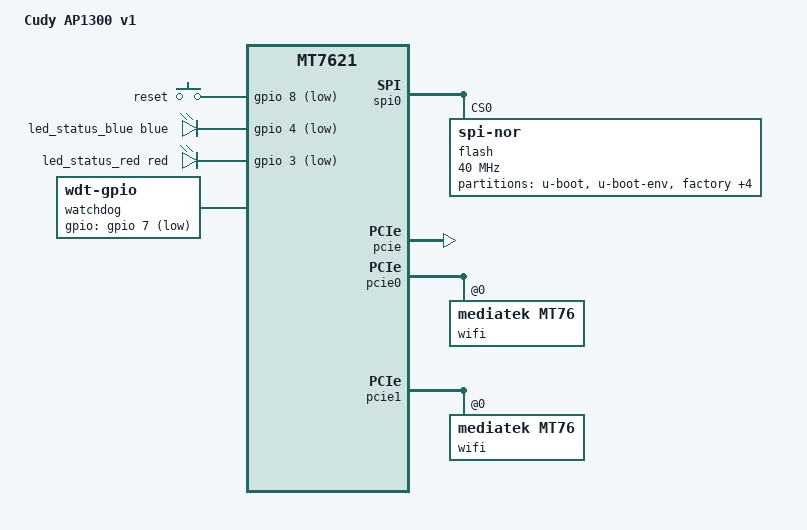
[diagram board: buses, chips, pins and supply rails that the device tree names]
// SPDX-License-Identifier: GPL-2.0-or-later OR MIT

#include "mt7621.dtsi"

#include <dt-bindings/input/input.h>
#include <dt-bindings/leds/common.h>
#include <dt-bindings/gpio/gpio.h>

/ {
	compatible = "cudy,ap1300-v1", "mediatek,mt7621-soc";
	model = "Cudy AP1300 v1";

	aliases {
		led-boot = &led_status_blue;
		led-failsafe = &led_status_red;
		led-running = &led_status_blue;
		led-upgrade = &led_status_red;
		label-mac-device = &gmac0;
	};

	chosen {
		bootargs = "console=ttyS0,115200";
	};

	keys {
		compatible = "gpio-keys";

		reset {
			label = "reset";
			gpios = <&gpio 8 GPIO_ACTIVE_LOW>;
			linux,code = <KEY_RESTART>;
		};
	};

	leds {
		compatible = "gpio-leds";

		led_status_blue: led-0 {
			gpios = <&gpio 4 GPIO_ACTIVE_LOW>;
			color = <LED_COLOR_ID_BLUE>;
			function = LED_FUNCTION_STATUS;
		};

		led_status_red: led-1 {
			gpios = <&gpio 3 GPIO_ACTIVE_LOW>;
			color = <LED_COLOR_ID_RED>;
			function = LED_FUNCTION_STATUS;
		};
	};

	watchdog {
		compatible = "linux,wdt-gpio";
		gpios = <&gpio 7 GPIO_ACTIVE_LOW>;
		hw_algo = "toggle";
		/* measured hardware timeout is ~60 s */
		hw_margin_ms = <10000>;
		always-running;
	};
};

&spi0 {
	status = "okay";

	flash@0 {
		compatible = "jedec,spi-nor";
		reg = <0>;
		spi-max-frequency = <40000000>;

		partitions {
			compatible = "fixed-partitions";
			#address-cells = <1>;
			#size-cells = <1>;

			partition@0 {
				label = "u-boot";
				reg = <0x0 0x30000>;
				read-only;
			};

			partition@30000 {
				label = "u-boot-env";
				reg = <0x30000 0x10000>;
				read-only;
			};

			partition@40000 {
				label = "factory";
				reg = <0x40000 0x10000>;
				read-only;

				nvmem-layout {
					compatible = "fixed-layout";
					#address-cells = <1>;
					#size-cells = <1>;

					eeprom_factory_0: eeprom@0 {
						reg = <0x0 0x400>;
					};

					eeprom_factory_8000: eeprom@8000 {
						reg = <0x8000 0x4da8>;
					};
				};
			};

			partition@50000 {
				compatible = "denx,uimage";
				label = "firmware";
				reg = <0x50000 0xf80000>;
			};

			partition@fd0000 {
				label = "debug";
				reg = <0xfd0000 0x10000>;
				read-only;
			};

			partition@fe0000 {
				label = "backup";
				reg = <0xfe0000 0x10000>;
				read-only;
			};

			partition@ff0000 {
				label = "bdinfo";
				reg = <0xff0000 0x10000>;
				read-only;

				nvmem-layout {
					compatible = "fixed-layout";
					#address-cells = <1>;
					#size-cells = <1>;

					macaddr_bdinfo_de00: macaddr@de00 {
						compatible = "mac-base";
						reg = <0xde00 0x6>;
						#nvmem-cell-cells = <1>;
					};
				};
			};
		};
	};
};

&pcie {
	status = "okay";
};

&pcie0 {
	wifi@0,0 {
		compatible = "mediatek,mt76";
		reg = <0x0000 0 0 0 0>;
		nvmem-cells = <&eeprom_factory_0>, <&macaddr_bdinfo_de00 1>;
		nvmem-cell-names = "eeprom", "mac-address";
		ieee80211-freq-limit = <2400000 2500000>;
	};
};

&pcie1 {
	wifi@0,0 {
		compatible = "mediatek,mt76";
		reg = <0x0000 0 0 0 0>;
		nvmem-cells = <&eeprom_factory_8000>, <&macaddr_bdinfo_de00 2>;
		nvmem-cell-names = "eeprom", "mac-address";
		ieee80211-freq-limit = <5000000 6000000>;
	};
};

&gmac0 {
	nvmem-cells = <&macaddr_bdinfo_de00 0>;
	nvmem-cell-names = "mac-address";
};

&switch0 {
	ports {
		port@4 {
			status = "okay";
			label = "lan";
		};
	};
};

&state_default {
	gpio {
		groups = "i2c", "uart3", "jtag", "wdt";
		function = "gpio";
	};
};
